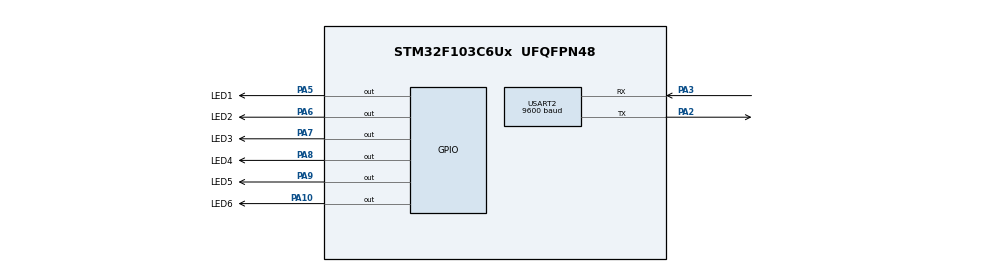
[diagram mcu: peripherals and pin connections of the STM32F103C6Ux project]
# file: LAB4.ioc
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Mcu.Family=STM32F1
Mcu.Name=STM32F103C6Ux
Mcu.Package=UFQFPN48
NVIC.PriorityGroup=NVIC_PRIORITYGROUP_4
NVIC.TIM2_IRQn=true\:0\:0\:false\:false\:true\:true\:true
NVIC.USART2_IRQn=true\:0\:0\:false\:false\:true\:true\:true
PA10.GPIO_Label=LED6
PA10.Signal=GPIO_Output
PA2.Mode=Asynchronous
PA2.Signal=USART2_TX
PA3.Mode=Asynchronous
PA3.Signal=USART2_RX
PA5.GPIO_Label=LED1
PA5.Signal=GPIO_Output
PA6.GPIO_Label=LED2
PA6.Signal=GPIO_Output
PA7.GPIO_Label=LED3
PA7.Signal=GPIO_Output
PA8.GPIO_Label=LED4
PA8.Signal=GPIO_Output
PA9.GPIO_Label=LED5
PA9.Signal=GPIO_Output
ProjectManager.HeapSize=0x200
ProjectManager.StackSize=0x400
ProjectManager.TargetToolchain=STM32CubeIDE
RCC.APB1Freq_Value=8000000
RCC.APB2Freq_Value=8000000
TIM2.Period=9
TIM2.Prescaler=7999
USART2.BaudRate=9600
USART2.VirtualMode=VM_ASYNC
VP_SYS_VS_ND.Mode=No_Debug
VP_TIM2_VS_ClockSourceINT.Mode=Internal
board=custom

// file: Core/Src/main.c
/* USER CODE BEGIN Header */
/**
  ******************************************************************************
  * @file           : main.c
  * @brief          : Main program body
  ******************************************************************************
  * @attention
  *
  * <h2><center>&copy; Copyright (c) 2023 STMicroelectronics.
  * All rights reserved.</center></h2>
  *
  * This software component is licensed by ST under BSD 3-Clause license,
  * the "License"; You may not use this file except in compliance with the
  * License. You may obtain a copy of the License at:
  *                        opensource.org/licenses/BSD-3-Clause
  *
  ******************************************************************************
  */
/* USER CODE END Header */
#include "main.h"
#include "scheduler.h"
#include <string.h>
#include <stdio.h>

TIM_HandleTypeDef htim2;

UART_HandleTypeDef huart2;

void SystemClock_Config(void);
static void MX_GPIO_Init(void);
static void MX_TIM2_Init(void);
static void MX_USART2_UART_Init(void);

/* USER CODE BEGIN 0 */
int count = 0;
void counter(){
	count++;
}

void led1_blinking(){
	const unsigned char arr[20] = "Task 1: ";
	HAL_UART_Transmit(&huart2, arr, sizeof(arr), 1000);
	char temp[20];
	sprintf(temp, "%dms\r\n", count*10);
	HAL_UART_Transmit(&huart2, (uint8_t*)temp, strlen(temp), 1000);
	HAL_GPIO_TogglePin(LED1_GPIO_Port, LED1_Pin);
}

void led2_blinking(){
	const unsigned char arr[20] = "Task 2: ";
	HAL_UART_Transmit(&huart2, arr, sizeof(arr), 1000);
	char temp[20];
	sprintf(temp, "%dms\r\n", count*10);
	HAL_UART_Transmit(&huart2, (uint8_t*)temp, strlen(temp), 1000);
	HAL_GPIO_TogglePin(LED2_GPIO_Port, LED2_Pin);
}

void led3_blinking(){
	const unsigned char arr[20] = "Task 3: ";
	HAL_UART_Transmit(&huart2, arr, sizeof(arr), 1000);
	char temp[20];
	sprintf(temp, "%dms\r\n", count*10);
	HAL_UART_Transmit(&huart2, (uint8_t*)temp, strlen(temp), 1000);
	HAL_GPIO_TogglePin(LED3_GPIO_Port, LED3_Pin);
}

void led4_blinking(){
	const unsigned char arr[20] = "Task 4: ";
	HAL_UART_Transmit(&huart2, arr, sizeof(arr), 1000);
	char temp[20];
	sprintf(temp, "%dms\r\n", count*10);
	HAL_UART_Transmit(&huart2, (uint8_t*)temp, strlen(temp), 1000);
	HAL_GPIO_TogglePin(LED4_GPIO_Port, LED4_Pin);
}

void led5_blinking(){
	const unsigned char arr[20] = "Task 5: ";
	HAL_UART_Transmit(&huart2, arr, sizeof(arr), 1000);
	char temp[20];
	sprintf(temp, "%dms\r\n", count*10);
	HAL_UART_Transmit(&huart2, (uint8_t*)temp, strlen(temp), 1000);
	HAL_GPIO_TogglePin(LED5_GPIO_Port, LED5_Pin);
}

void led6_blinking(){
	const unsigned char arr[20] = "Task 6: ";
	HAL_UART_Transmit(&huart2, arr, sizeof(arr), 1000);
	char temp[20];
	sprintf(temp, "%dms\r\n", count*10);
	HAL_UART_Transmit(&huart2, (uint8_t*)temp, strlen(temp), 1000);
	HAL_GPIO_TogglePin(LED6_GPIO_Port, LED6_Pin);
}

/* USER CODE END 0 */

int main(void)
{

  /* MCU Configuration--------------------------------------------------------*/

  /* Reset of all peripherals, Initializes the Flash interface and the Systick. */
  HAL_Init();

  /* Configure the system clock */
  SystemClock_Config();

  /* Initialize all configured peripherals */
  MX_GPIO_Init();
  MX_TIM2_Init();
  MX_USART2_UART_Init();
  /* USER CODE BEGIN 2 */
  HAL_TIM_Base_Start_IT(&htim2);
  SCH_Init();
  SCH_Add_Task(counter, 0, 1);
  SCH_Add_Task(led1_blinking, 50, 50);
  SCH_Add_Task(led2_blinking, 100, 100);
  SCH_Add_Task(led3_blinking, 150, 150);
  SCH_Add_Task(led4_blinking, 200, 200);
  SCH_Add_Task(led5_blinking, 250, 250);
  SCH_Add_Task(led6_blinking, 250, 0);
  /* USER CODE END 2 */

  /* Infinite loop */
  /* USER CODE BEGIN WHILE */
  while (1)
  {
	  SCH_Dispatch_Tasks();
    /* USER CODE END WHILE */

  }
}

void SystemClock_Config(void)
{
  RCC_OscInitTypeDef RCC_OscInitStruct = {0};
  RCC_ClkInitTypeDef RCC_ClkInitStruct = {0};

  /** Initializes the RCC Oscillators according to the specified parameters
  * in the RCC_OscInitTypeDef structure.
  */
  RCC_OscInitStruct.OscillatorType = RCC_OSCILLATORTYPE_HSI;
  RCC_OscInitStruct.HSIState = RCC_HSI_ON;
  RCC_OscInitStruct.HSICalibrationValue = RCC_HSICALIBRATION_DEFAULT;
  RCC_OscInitStruct.PLL.PLLState = RCC_PLL_NONE;
  if (HAL_RCC_OscConfig(&RCC_OscInitStruct) != HAL_OK)
  {
    Error_Handler();
  }
  /** Initializes the CPU, AHB and APB buses clocks
  */
  RCC_ClkInitStruct.ClockType = RCC_CLOCKTYPE_HCLK|RCC_CLOCKTYPE_SYSCLK
                              |RCC_CLOCKTYPE_PCLK1|RCC_CLOCKTYPE_PCLK2;
  RCC_ClkInitStruct.SYSCLKSource = RCC_SYSCLKSOURCE_HSI;
  RCC_ClkInitStruct.AHBCLKDivider = RCC_SYSCLK_DIV1;
  RCC_ClkInitStruct.APB1CLKDivider = RCC_HCLK_DIV1;
  RCC_ClkInitStruct.APB2CLKDivider = RCC_HCLK_DIV1;

  if (HAL_RCC_ClockConfig(&RCC_ClkInitStruct, FLASH_LATENCY_0) != HAL_OK)
  {
    Error_Handler();
  }
}

static void MX_TIM2_Init(void)
{

  TIM_ClockConfigTypeDef sClockSourceConfig = {0};
  TIM_MasterConfigTypeDef sMasterConfig = {0};

  htim2.Instance = TIM2;
  htim2.Init.Prescaler = 7999;
  htim2.Init.CounterMode = TIM_COUNTERMODE_UP;
  htim2.Init.Period = 9;
  htim2.Init.ClockDivision = TIM_CLOCKDIVISION_DIV1;
  htim2.Init.AutoReloadPreload = TIM_AUTORELOAD_PRELOAD_DISABLE;
  if (HAL_TIM_Base_Init(&htim2) != HAL_OK)
  {
    Error_Handler();
  }
  sClockSourceConfig.ClockSource = TIM_CLOCKSOURCE_INTERNAL;
  if (HAL_TIM_ConfigClockSource(&htim2, &sClockSourceConfig) != HAL_OK)
  {
    Error_Handler();
  }
  sMasterConfig.MasterOutputTrigger = TIM_TRGO_RESET;
  sMasterConfig.MasterSlaveMode = TIM_MASTERSLAVEMODE_DISABLE;
  if (HAL_TIMEx_MasterConfigSynchronization(&htim2, &sMasterConfig) != HAL_OK)
  {
    Error_Handler();
  }

}

static void MX_USART2_UART_Init(void)
{

  huart2.Instance = USART2;
  huart2.Init.BaudRate = 9600;
  huart2.Init.WordLength = UART_WORDLENGTH_8B;
  huart2.Init.StopBits = UART_STOPBITS_1;
  huart2.Init.Parity = UART_PARITY_NONE;
  huart2.Init.Mode = UART_MODE_TX_RX;
  huart2.Init.HwFlowCtl = UART_HWCONTROL_NONE;
  huart2.Init.OverSampling = UART_OVERSAMPLING_16;
  if (HAL_UART_Init(&huart2) != HAL_OK)
  {
    Error_Handler();
  }

}

static void MX_GPIO_Init(void)
{
  GPIO_InitTypeDef GPIO_InitStruct = {0};

  /* GPIO Ports Clock Enable */
  __HAL_RCC_GPIOA_CLK_ENABLE();

  /*Configure GPIO pin Output Level */
  HAL_GPIO_WritePin(GPIOA, LED1_Pin|LED2_Pin|LED3_Pin|LED4_Pin
                          |LED5_Pin|LED6_Pin, GPIO_PIN_RESET);

  /*Configure GPIO pins : LED1_Pin LED2_Pin LED3_Pin LED4_Pin
                           LED5_Pin LED6_Pin */
  GPIO_InitStruct.Pin = LED1_Pin|LED2_Pin|LED3_Pin|LED4_Pin
                          |LED5_Pin|LED6_Pin;
  GPIO_InitStruct.Mode = GPIO_MODE_OUTPUT_PP;
  GPIO_InitStruct.Pull = GPIO_NOPULL;
  GPIO_InitStruct.Speed = GPIO_SPEED_FREQ_LOW;
  HAL_GPIO_Init(GPIOA, &GPIO_InitStruct);

}

/* USER CODE BEGIN 4 */
void HAL_TIM_PeriodElapsedCallback(TIM_HandleTypeDef *htim){
	SCH_Update();
}
/* USER CODE END 4 */

void Error_Handler(void)
{
  __disable_irq();
  while (1)
  {
  }
}

/************************ (C) COPYRIGHT STMicroelectronics *****END OF FILE****/
